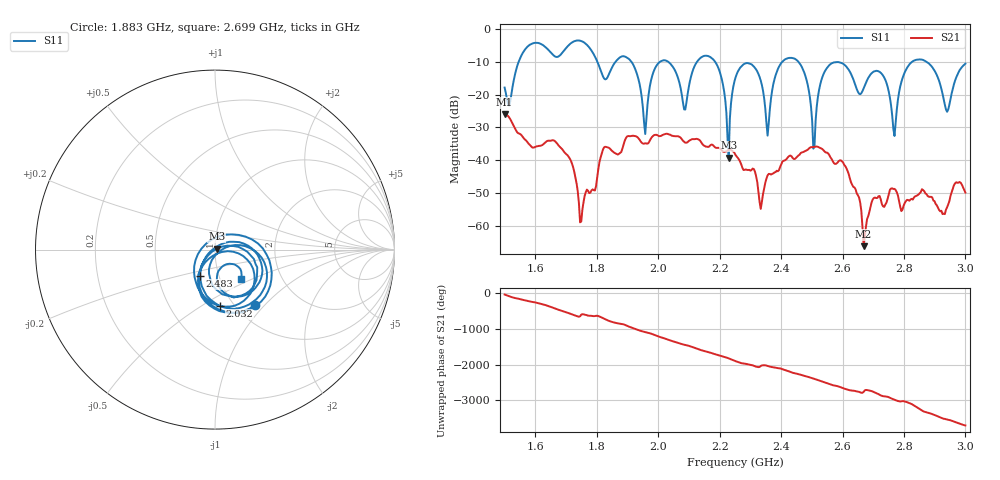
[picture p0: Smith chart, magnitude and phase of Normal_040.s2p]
# HZ S RI R 50
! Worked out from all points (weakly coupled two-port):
!   404 points, 1.5 GHz to 3 GHz, reference 50 ohm
!   highest |S21| = -26.04 dB at 1.5 GHz (marker M1); lowest = -66.1 dB at 2.669 GHz (marker M2)
!   lowest |S11| = -39.2 dB at 2.23 GHz (marker M3), VSWR 1.02, Z = 51 + j0.487 ohm
!   |S11| at or under -10 dB: 2.185 GHz to 2.405 GHz (219.8 MHz wide, 9.58 % of centre); 2.456 GHz to 2.827 GHz (371.7 MHz wide, 14.1 % of centre); 2.872 GHz to end of sweep (the widest 3 of 7)
!   S12 and S22 are empty: the file has one direction only
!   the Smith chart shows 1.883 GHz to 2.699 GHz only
!   S11 on the Smith chart (normalised r, x): 1.883 GHz: 1.23, -0.88; 2.032 GHz: 0.86, -0.60; 2.483 GHz: 0.81, -0.24; 2.699 GHz: 1.25, -0.43
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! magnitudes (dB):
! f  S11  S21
! 1.5 GHz  -17.9  -26.0
! 1.753 GHz  -3.9  -55.1
! 1.883 GHz  -8.4  -36.5
! 1.958 GHz  -32.0  -34.8
! 2.002 GHz  -10.3  -32.6
! 2.032 GHz  -10.0  -32.0
! 2.088 GHz  -24.6  -34.6
! 2.177 GHz  -9.2  -35.3
! 2.23 GHz  -39.2  -36.8
! 2.252 GHz  -14.8  -38.4
! 2.334 GHz  -15.7  -54.8
! 2.356 GHz  -32.5  -44.6
! 2.404 GHz  -10.0  -40.4
! 2.483 GHz  -15.5  -37.0
! 2.501 GHz  -28.1  -36.0
! 2.565 GHz  -10.5  -39.6
! 2.669 GHz  -18.2  -66.1
! 2.699 GHz  -13.2  -51.8
! 2.751 GHz  -19.2  -50.2
! 2.859 GHz  -9.4  -48.8
! 2.94 GHz  -25.2  -54.2
! 3 GHz  -10.6  -49.8
